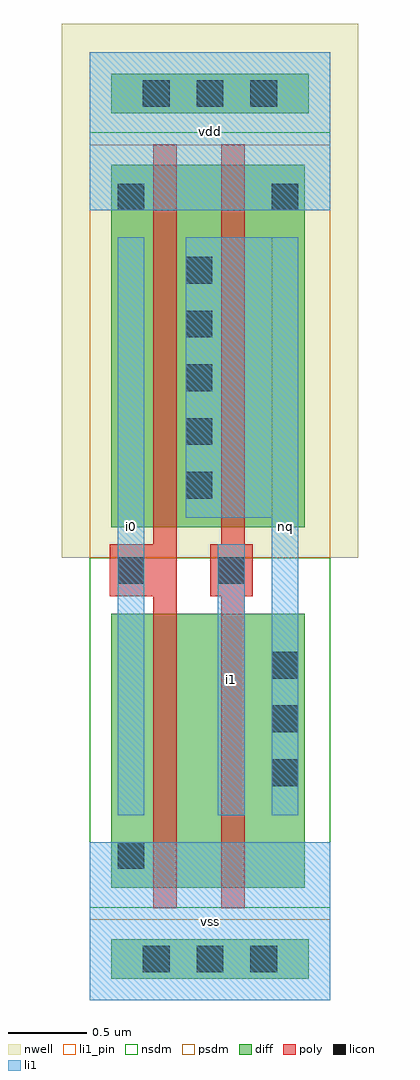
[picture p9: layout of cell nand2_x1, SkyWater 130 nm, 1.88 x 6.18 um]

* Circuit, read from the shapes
.subckt nand2_x1 i0 i1 nq vdd vss
XM1 n1 i0 vss VSUBS sky130_fd_pr__nfet_01v8 w=1.735 l=0.15
XM2 nq i1 n1 VSUBS sky130_fd_pr__nfet_01v8 w=1.735 l=0.15
XM3 nq i0 vdd n2 sky130_fd_pr__pfet_01v8 w=2.295 l=0.15
XM4 vdd i1 nq n2 sky130_fd_pr__pfet_01v8 w=2.295 l=0.15
.ends

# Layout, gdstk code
import gdstk
lib = gdstk.Library(unit=1e-6, precision=1e-09)
def R(c, l, rs):  # rectangles x0, y0, x1, y1
    for r in rs: c.add(gdstk.rectangle(r[:2], r[2:], *l))
def A(c, l, x, y, w, h, nx, ny, dx, dy):  # array of equal rectangles
    R(c, l, [(x+i*dx, y+j*dy, x+i*dx+w, y+j*dy+h) for i in range(nx) for j in range(ny)])
def P(c, l, *ps):  # polygons
    for p in ps: c.add(gdstk.Polygon(p, *l))
nwell = (64, 20)
diff = (65, 20)
poly = (66, 20)
licon = (66, 44)
li1_pin = (67, 16)
li1 = (67, 20)
nsdm = (93, 44)
psdm = (94, 20)

nand2_x1 = lib.new_cell('nand2_x1')
R(nand2_x1, nwell, [(-0.18,2.8,1.7,6.18)])
R(nand2_x1, diff, [(0.135,0.135,1.385,0.385), (0.135,0.71,1.36,2.445), (0.135,2.995,1.36,5.29), (0.135,5.615,1.385,5.865)])
P(nand2_x1, poly, [(0.4,0.58),(0.4,2.555),(0.125,2.555),(0.125,2.885),(0.4,2.885),(0.4,5.42),(0.55,5.42),(0.55,0.58)],
  [(0.83,0.58),(0.83,2.555),(0.76,2.555),(0.76,2.885),(0.83,2.885),(0.83,5.42),(0.98,5.42),(0.98,2.885),(1.03,2.885),(1.03,2.555),(0.98,2.555),(0.98,0.58)])
A(nand2_x1, licon, 0.335, 0.175, 0.17, 0.17, 3, 2, 0.34, 5.48)
A(nand2_x1, licon, 1.15, 1.355, 0.17, 0.17, 1, 3, 0, 0.34)
A(nand2_x1, licon, 0.605, 3.175, 0.17, 0.17, 1, 5, 0, 0.34)
R(nand2_x1, licon, [(0.175,0.83,0.345,1), (0.175,2.635,0.345,2.805), (0.81,2.635,0.98,2.805), (0.175,5,0.345,5.17), (1.15,5,1.32,5.17)])
R(nand2_x1, li1_pin, [(0,0,1.52,1), (0.175,1.17,0.345,4.83), (0.81,1.17,0.98,2.885), (1.15,1.17,1.32,4.83), (0,5,1.52,6)])
R(nand2_x1, li1, [(0,0,1.52,1), (0.175,1.17,0.345,4.83), (0.81,1.17,0.98,2.885), (0,5,1.52,6)])
P(nand2_x1, li1, [(1.15,1.17),(1.15,3.055),(0.605,3.055),(0.605,4.83),(1.32,4.83),(1.32,1.17)])
R(nand2_x1, nsdm, [(0,0.585,1.52,2.8), (0,5.49,1.52,6)])
R(nand2_x1, psdm, [(0,0,1.52,0.51), (0,2.8,1.52,5.415)])
nand2_x1.add(gdstk.Label('vss', (0.76,0.5), layer=67, texttype=16))
nand2_x1.add(gdstk.Label('vdd', (0.76,5.5), layer=67, texttype=16))
nand2_x1.add(gdstk.Label('i0', (0.26,3), layer=67, texttype=16))
nand2_x1.add(gdstk.Label('nq', (1.235,3), layer=67, texttype=16))
nand2_x1.add(gdstk.Label('i1', (0.895,2.027), layer=67, texttype=16))

lib.write_gds('nand2_x1.gds')
